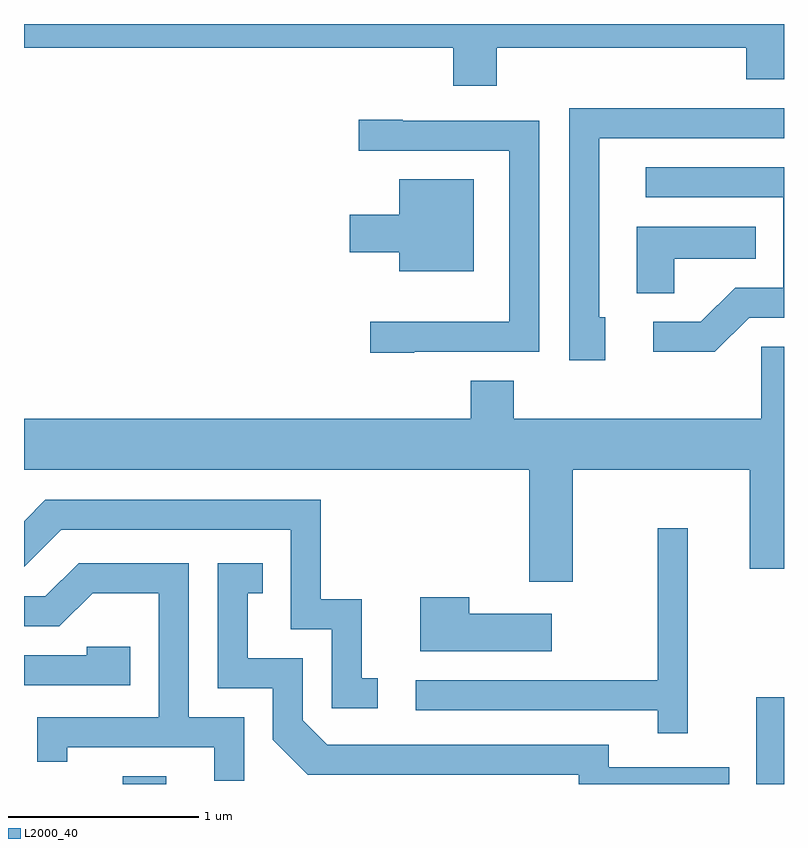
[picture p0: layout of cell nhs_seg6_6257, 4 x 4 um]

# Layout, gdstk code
import gdstk
lib = gdstk.Library(unit=1e-6, precision=1e-09)
def R(c, l, rs):  # rectangles x0, y0, x1, y1
    for r in rs: c.add(gdstk.rectangle(r[:2], r[2:], *l))
def P(c, l, *ps):  # polygons
    for p in ps: c.add(gdstk.Polygon(p, *l))
L2000_40 = (2000, 40)

nhs_seg6_6257 = lib.new_cell('nhs_seg6_6257')
R(nhs_seg6_6257, L2000_40, [(376.131,1546.162,376.359,1546.204), (379.466,1546.162,379.611,1546.618)])
P(nhs_seg6_6257, L2000_40, [(378.099,1550.036),(379.411,1550.036),(379.411,1549.871),(379.611,1549.871),(379.611,1550.162),(375.611,1550.162),(375.611,1550.036),(377.871,1550.036),(377.871,1549.836),(378.099,1549.836)],
  [(378.669,1548.619),(378.639,1548.619),(378.639,1549.561),(379.611,1549.561),(379.611,1549.719),(378.481,1549.719),(378.481,1548.391),(378.669,1548.391)],
  [(377.665,1548.436),(378.324,1548.436),(378.324,1549.654),(377.605,1549.654),(377.605,1549.659),(377.373,1549.659),(377.373,1549.496),(378.166,1549.496),(378.166,1548.594),(377.433,1548.594),(377.433,1548.431),(377.665,1548.431)],
  [(379.427,1548.616),(379.611,1548.616),(379.611,1549.409),(378.883,1549.409),(378.883,1549.251),(379.606,1549.251),(379.606,1548.774),(379.354,1548.774),(379.174,1548.594),(378.923,1548.594),(378.923,1548.436),(379.247,1548.436)],
  [(377.979,1549.344),(377.586,1549.344),(377.586,1549.159),(377.326,1549.159),(377.326,1548.961),(377.586,1548.961),(377.586,1548.861),(377.979,1548.861)],
  [(379.034,1548.926),(379.463,1548.926),(379.463,1549.094),(378.836,1549.094),(378.836,1548.746),(379.034,1548.746)],
  [(378.499,1547.816),(379.431,1547.816),(379.431,1547.296),(379.611,1547.296),(379.611,1548.464),(379.491,1548.464),(379.491,1548.084),(378.189,1548.084),(378.189,1548.284),(377.961,1548.284),(377.961,1548.084),(375.611,1548.084),(375.611,1547.816),(378.271,1547.816),(378.271,1547.226),(378.499,1547.226)],
  [(377.473,1546.719),(377.389,1546.719),(377.389,1547.134),(377.174,1547.134),(377.174,1547.659),(375.724,1547.659),(375.611,1547.546),(375.611,1547.305),(375.807,1547.501),(377.016,1547.501),(377.016,1546.976),(377.231,1546.976),(377.231,1546.561),(377.473,1546.561)],
  [(379.104,1547.508),(378.946,1547.508),(378.946,1546.709),(377.673,1546.709),(377.673,1546.551),(378.946,1546.551),(378.946,1546.428),(379.104,1546.428)],
  [(379.323,1546.249),(378.689,1546.249),(378.689,1546.369),(377.207,1546.369),(377.079,1546.497),(377.079,1546.824),(376.789,1546.824),(376.789,1547.166),(376.868,1547.166),(376.868,1547.324),(376.631,1547.324),(376.631,1546.666),(376.921,1546.666),(376.921,1546.394),(377.104,1546.211),(378.531,1546.211),(378.531,1546.162),(379.323,1546.162)],
  [(376.769,1546.514),(376.479,1546.514),(376.479,1547.324),(375.899,1547.324),(375.724,1547.149),(375.611,1547.149),(375.611,1546.991),(375.797,1546.991),(375.972,1547.166),(376.321,1547.166),(376.321,1546.514),(375.681,1546.514),(375.681,1546.278),(375.839,1546.278),(375.839,1546.356),(376.611,1546.356),(376.611,1546.178),(376.769,1546.178)],
  [(378.389,1547.059),(377.954,1547.059),(377.954,1547.144),(377.696,1547.144),(377.696,1546.861),(378.389,1546.861)],
  [(376.169,1546.884),(375.941,1546.884),(375.941,1546.839),(375.611,1546.839),(375.611,1546.681),(376.169,1546.681)])

lib.write_gds('nhs_seg6_6257.gds')
